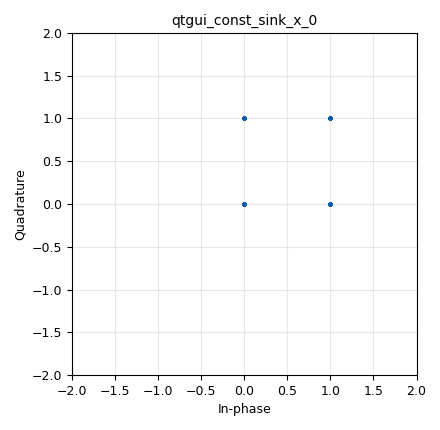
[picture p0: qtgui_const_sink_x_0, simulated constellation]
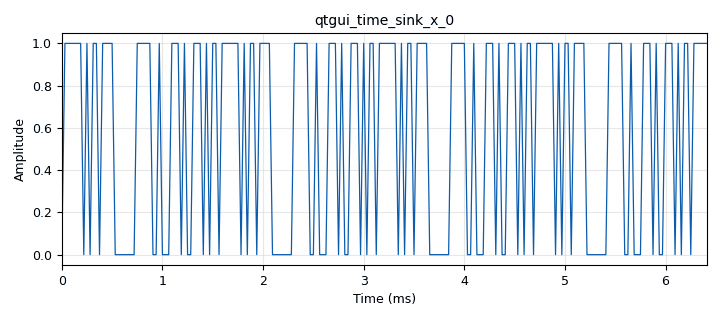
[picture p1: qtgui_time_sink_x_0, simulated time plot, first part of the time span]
options:
  parameters:
    author: aruncs
    generate_options: qt_gui
    id: qpsk_transmitter
    output_language: python
    title: QPSK Trasnmitter Flow
  states: {}

blocks:
- name: qpsk
  id: variable_constellation_rect
  parameters:
    const_points: '[0.707+0.707j, -0.707+0.707j, -0.707-0.707j, 0.707-0.707j]'
    imag_sect: '2'
    real_sect: '2'
    rot_sym: '4'
    sym_map: '[0, 1, 2, 3]'
    w_imag_sect: '1'
    w_real_sect: '1'
  states: {}
- name: samp_rate
  id: variable
  parameters:
    value: '32000'
  states: {}
- name: analog_random_source_x_0
  id: analog_random_source_x
  parameters:
    max: '2'
    min: '0'
    num_samps: '100'
    repeat: 'True'
    type: byte
  states: {}
- name: blocks_complex_to_float_0
  id: blocks_complex_to_float
  parameters: {}
  states: {}
- name: blocks_interleaved_char_to_complex_0
  id: blocks_interleaved_char_to_complex
  parameters:
    scale_factor: '1.0'
    vector_input: 'False'
  states: {}
- name: blocks_interleaved_char_to_complex_0_0
  id: blocks_interleaved_char_to_complex
  parameters:
    scale_factor: '1.0'
    vector_input: 'False'
  states: {state: disabled}
- name: blocks_throttle2_0
  id: blocks_throttle2
  parameters:
    samples_per_second: samp_rate
    type: complex
  states: {}
- name: blocks_throttle2_0_0
  id: blocks_throttle2
  parameters:
    samples_per_second: samp_rate
    type: complex
  states: {state: disabled}
- name: digital_constellation_decoder_cb_0
  id: digital_constellation_decoder_cb
  parameters:
    constellation: qpsk
  states: {state: disabled}
- name: digital_constellation_modulator_0
  id: digital_constellation_modulator
  parameters:
    constellation: qpsk
    differential: 'True'
    excess_bw: '.35'
    samples_per_symbol: '4'
  states: {state: disabled}
- name: digital_costas_loop_cc_0
  id: digital_costas_loop_cc
  parameters:
    order: '4'
    w: float(62.8/1000)
  states: {state: disabled}
- name: digital_diff_decoder_bb_0
  id: digital_diff_decoder_bb
  parameters:
    coding: digital.DIFF_DIFFERENTIAL
    modulus: '4'
  states: {state: disabled}
- name: digital_map_bb_0
  id: digital_map_bb
  parameters:
    map: '[0,1,2,3]'
  states: {state: disabled}
- name: qtgui_const_sink_x_0
  id: qtgui_const_sink_x
  parameters:
    size: '1024'
    type: complex
  states: {}
- name: qtgui_freq_sink_x_0
  id: qtgui_freq_sink_x
  parameters:
    bw: samp_rate
    fc: '0'
    fftsize: '1024'
    type: complex
  states: {state: disabled}
- name: qtgui_time_sink_x_0
  id: qtgui_time_sink_x
  parameters:
    autoscale: 'True'
    size: '1024'
    srate: samp_rate
    type: float
  states: {}
- name: virtual_sink_0
  id: virtual_sink
  parameters:
    stream_id: debug_source
  states: {}
- name: virtual_sink_1
  id: virtual_sink
  parameters:
    stream_id: r2
  states: {state: disabled}
- name: virtual_sink_2
  id: virtual_sink
  parameters:
    stream_id: transmitted
  states: {state: disabled}
- name: virtual_source_0
  id: virtual_source
  parameters:
    stream_id: debug_source
  states: {}
- name: virtual_source_0_0
  id: virtual_source
  parameters:
    stream_id: debug_source
  states: {state: disabled}
- name: virtual_source_1
  id: virtual_source
  parameters:
    stream_id: transmitted
  states: {state: disabled}

connections:
- [analog_random_source_x_0, '0', blocks_interleaved_char_to_complex_0, '0']
- [analog_random_source_x_0, '0', digital_constellation_modulator_0, '0']
- [blocks_complex_to_float_0, '0', qtgui_time_sink_x_0, '0']
- [blocks_interleaved_char_to_complex_0, '0', blocks_throttle2_0, '0']
- [blocks_interleaved_char_to_complex_0_0, '0', virtual_sink_2, '0']
- [blocks_throttle2_0, '0', virtual_sink_0, '0']
- [blocks_throttle2_0_0, '0', virtual_sink_0, '0']
- [digital_constellation_decoder_cb_0, '0', digital_diff_decoder_bb_0, '0']
- [digital_constellation_modulator_0, '0', blocks_throttle2_0_0, '0']
- [digital_costas_loop_cc_0, '0', digital_constellation_decoder_cb_0, '0']
- [digital_diff_decoder_bb_0, '0', digital_map_bb_0, '0']
- [digital_map_bb_0, '0', blocks_interleaved_char_to_complex_0_0, '0']
- [digital_map_bb_0, '0', virtual_sink_1, '0']
- [virtual_source_0, '0', blocks_complex_to_float_0, '0']
- [virtual_source_0, '0', qtgui_const_sink_x_0, '0']
- [virtual_source_0, '0', qtgui_freq_sink_x_0, '0']
- [virtual_source_0_0, '0', digital_costas_loop_cc_0, '0']
- [virtual_source_1, '0', blocks_complex_to_float_0, '0']
- [virtual_source_1, '0', qtgui_const_sink_x_0, '0']

metadata:
  file_format: 1
  grc_version: 3.10.12.0
